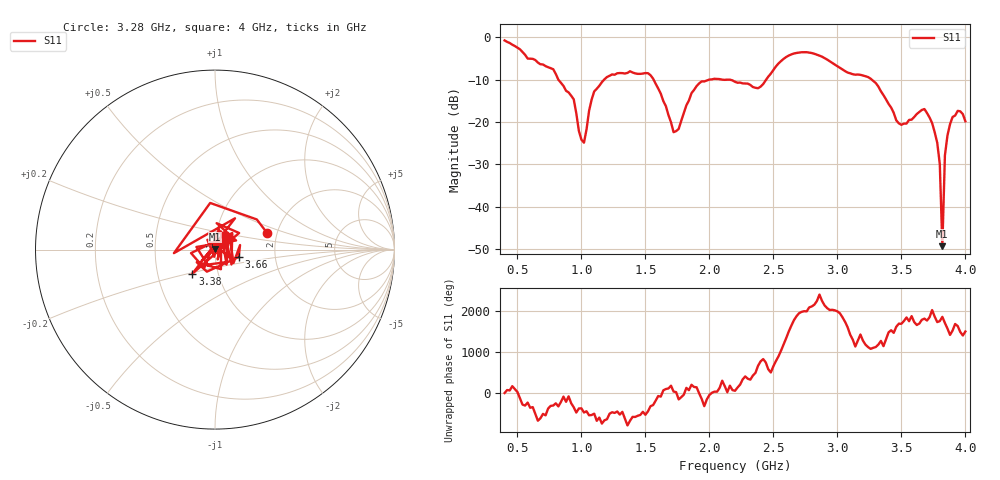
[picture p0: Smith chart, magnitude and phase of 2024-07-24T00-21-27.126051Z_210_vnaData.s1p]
!Created with skrf (http://scikit-rf.org).
# Hz S RI R 50.0
!freq ReS11 ImS11
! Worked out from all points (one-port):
!   181 points, 400 MHz to 4 GHz, reference 50 ohm
!   lowest |S11| = -49.3 dB at 3.82 GHz (marker M1), VSWR 1.01, Z = 50.2 + j0.278 ohm
!   |S11| at or under -10 dB: 819.4 MHz to 1.179 GHz (359.1 MHz wide, 35.9 % of centre); 1.564 GHz to 2.004 GHz (440.1 MHz wide, 24.7 % of centre); 3.267 GHz to end of sweep (the widest 3 of 4)
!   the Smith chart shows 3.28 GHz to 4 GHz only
!   S11 on the Smith chart (normalised r, x): 3.28 GHz: 1.77, +0.36; 3.38 GHz: 0.75, -0.21; 3.66 GHz: 1.30, -0.11; 4 GHz: 1.11, +0.19
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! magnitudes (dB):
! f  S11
! 400 MHz  -0.8
! 860 MHz  -11.5
! 940 MHz  -14.7
! 980 MHz  -22.1
! 1.02 GHz  -24.9
! 1.1 GHz  -12.8
! 1.3 GHz  -8.5
! 1.54 GHz  -9.0
! 1.72 GHz  -22.4
! 1.76 GHz  -21.7
! 1.92 GHz  -10.9
! 2.2 GHz  -10.5
! 2.38 GHz  -12.1
! 2.66 GHz  -3.9
! 3.1 GHz  -8.5
! 3.28 GHz  -10.3
! 3.38 GHz  -14.7
! 3.48 GHz  -20.3
! 3.56 GHz  -19.5
! 3.66 GHz  -17.2
! 3.72 GHz  -19.0
! 3.78 GHz  -24.9
! 3.8 GHz  -29.9
! 3.82 GHz  -49.3
! 3.84 GHz  -27.9
! 3.86 GHz  -23.2
! 3.94 GHz  -17.4
! 4 GHz  -19.9
